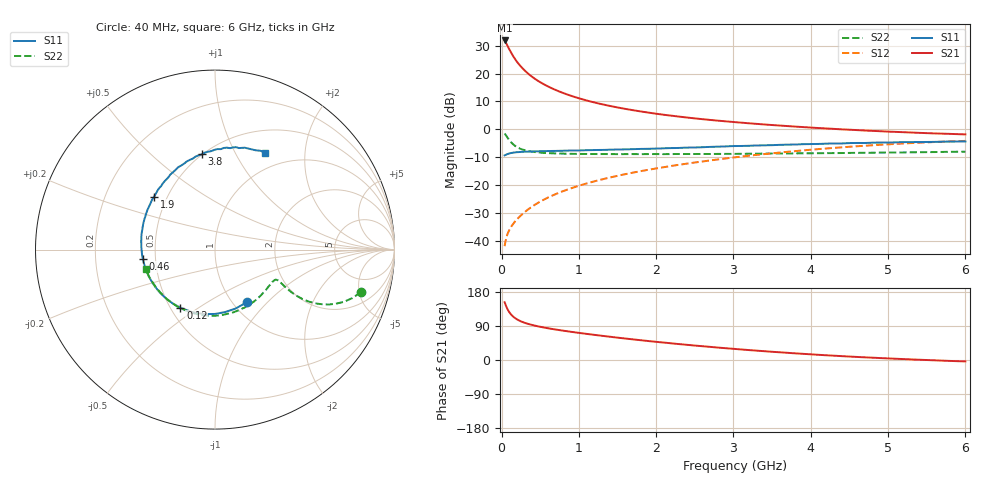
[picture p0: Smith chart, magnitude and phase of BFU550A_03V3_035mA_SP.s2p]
! Filename:  P:\Prog\Test\Noise\ATS_data\Testdata_Net\03 Spar\BFU550A_APG2013_35_C05_03p3V_035mA_SP_CM01_D.s2p
! Date/Time: Tue 16/Apr/2013 15:10:18
! BFU550A_APG2013_35_C05_03p3V_1to35mA_SP_CM01_Bias8_R.s2p
! MDIF S-parameter v. bias file
! BFU530A_APG2013_33_A09_08p0V_015mA_SP_CM01
! Date/time Mon Apr 15 14:22:32 2013
! VAR V_out= 3.3000
! VAR I_out= 35.0000
! VAR V_in= 0.8550
! VAR I_in= 0.4168
! Device data file deembeded for feedlines and parallel
! Original file: \03 Spar\BFU550A_APG2013_35_C05_03p3V_035mA_SP_CM01_R.s2p
! Feed-files: PR017V01_150413_Feed1.s2p, PR017V01_150413_Feed2.s2p
! Parallel-file: PR017V01_150413_Par.s2p
# MHz S MA R 50
!  Freq-MHz  S11-mag  S11-arg  S21-mag  S21-arg  S12-mag  S12-arg  S22-mag  S22-arg
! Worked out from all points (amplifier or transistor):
!   98 points, 40 MHz to 6 GHz, reference 50 ohm
!   highest |S21| = 31.9 dB at 40 MHz (marker M1)
!   |S21| within 3 dB of that: start of sweep to 97.7 MHz
!   unconditionally stable (mu >= 1): 427 MHz to 1.575 GHz
!   at 300 MHz: K = 0.94, MSG = 25.3 dB, |S12| = -29.6 dB
!   at 1.6 GHz: K = 1.00, MSG = 11.7 dB, |S12| = -16.0 dB
!   at 6 GHz: K = 0.91, MSG = 1.2 dB, |S12| = -4.1 dB
!   S11 on the Smith chart (normalised r, x): 40 MHz: 1.15, -0.77; 120 MHz: 0.56, -0.42; 460 MHz: 0.42, -0.05; 1.9 GHz: 0.42, +0.31; 3.8 GHz: 0.50, +0.74; 6 GHz: 0.78, +1.33
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40  0.3428 -59.0  39.15 152.5  0.008114 75.4  0.8473 -16.3
60  0.3527 -81.2  34.97 141.7  0.01119 70.7  0.7742 -22.1
70  0.3584 -90.0  32.91 137.2  0.01246 69.0  0.7381 -24.1
90  0.3668 -104.7  29.04 129.5  0.01473 67.1  0.6731 -26.9
100  0.3706 -110.6  27.33 126.3  0.01575 66.6  0.6451 -27.9
120  0.377 -120.7  24.3 121.0  0.01763 66.2  0.5964 -29.0
140  0.3814 -128.5  21.74 116.6  0.01939 66.3  0.5578 -29.5
160  0.3851 -134.9  19.57 113.0  0.02118 66.6  0.5272 -29.5
180  0.3882 -140.3  17.77 110.0  0.02288 67.1  0.5018 -29.3
240  0.3943 -151.7  13.88 103.0  0.02793 69.2  0.4522 -28.3
280  0.3972 -157.2  12.09 99.6  0.03138 70.4  0.4318 -27.6
340  0.4003 -163.5  10.1 95.5  0.03659 71.9  0.4114 -26.7
460  0.405 -172.6  7.588 89.4  0.04732 74.1  0.3893 -26.1
700  0.4121 175.3  5.082 80.4  0.06936 76.0  0.3714 -27.6
1050  0.4222 162.7  3.449 70.2  0.1027 76.4  0.3636 -32.9
1900  0.4497 139.0  1.999 50.0  0.1894 72.3  0.3615 -51.2
2050  0.4559 135.5  1.868 47.0  0.2052 71.3  0.3611 -54.6
3100  0.5051 111.8  1.321 27.8  0.3259 61.9  0.3657 -81.8
3800  0.5362 97.8  1.123 17.5  0.4086 53.9  0.3722 -101.5
4100  0.5493 92.1  1.058 13.7  0.4434 50.3  0.3748 -110.0
5200  0.5914 73.8  0.8913 2.4  0.5608 35.8  0.3871 -141.2
6000  0.6072 62.4  0.8134 -3.8  0.6231 25.1  0.3993 -163.9
